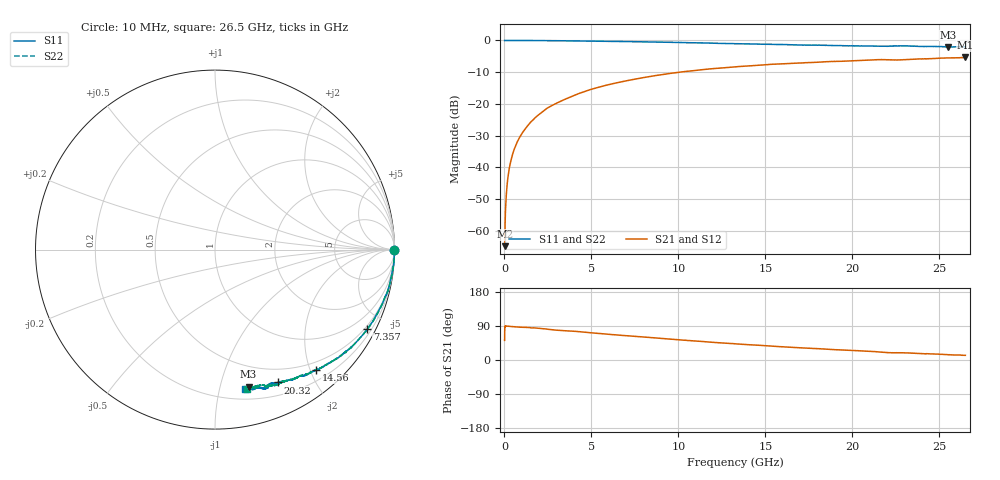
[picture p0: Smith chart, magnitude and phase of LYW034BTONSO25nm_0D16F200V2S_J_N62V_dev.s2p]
!Keysight Technologies,N5222B,MY61253708,A.15.00.15
!Date: Wednesday, June 19, 2024 09:14:32
!Correction: S11(C  2-Port  )
!S21(C  2-Port  )
!S12(C  2-Port  )
!S22(C  2-Port  )
!S2P File: Measurements: S11, S21, S12, S22:
# Hz S  RI  R 50
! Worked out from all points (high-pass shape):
!   2651 points, 10 MHz to 26.5 GHz, reference 50 ohm
!   highest |S21| = -5.35 dB at 26.5 GHz (marker M1); lowest = -64.9 dB at 20 MHz (marker M2)
!   |S21| within 3 dB of the highest: 13.23 GHz to end of sweep
!   lowest |S11| = -2.1 dB at 25.5 GHz (marker M3), VSWR 8.37, Z = 15.3 - j61.4 ohm
!   |S11| at or under -10 dB: nowhere
!   |S22| runs from -2.0 to 0.0 dB; largest |S21 - S12| = 0.0067
!   S11 on the Smith chart (normalised r, x): 10 MHz: open; 7.357 GHz: 0.38, -4.04; 14.56 GHz: 0.36, -2.09; 20.32 GHz: 0.34, -1.53; 26.5 GHz: 0.28, -1.20
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1e7  0.9984 -0.00226  0.000375 0.000478  0.000126 0.000405  0.9984 -0.000861
1.999623e7  0.999 -0.00209  2.09e-05 0.000567  -0.00012 0.000722  0.9991 -0.00228
1.699396e8  0.9998 -0.0121  6.42e-05 0.00581  6.75e-05 0.00586  0.9996 -0.0115
2.199208e8  0.9997 -0.0157  0.000137 0.0075  0.000128 0.00758  0.9992 -0.0149
2.798981e8  0.9998 -0.0198  0.000137 0.00963  0.00022 0.0096  0.9995 -0.019
3.898566e8  0.9993 -0.0276  0.000369 0.0133  0.000368 0.0134  0.9991 -0.0265
5.198075e8  0.999 -0.0358  0.00061 0.0177  0.000634 0.0179  0.9993 -0.0354
6.897434e8  0.9983 -0.0474  0.00111 0.0235  0.00112 0.0237  0.9982 -0.0471
8.896679e8  0.9975 -0.0612  0.00179 0.0301  0.00177 0.0303  0.9969 -0.0602
1.489442e9  0.9896 -0.1027  0.00439 0.0507  0.00443 0.051  0.9925 -0.0997
2.359113e9  0.9804 -0.1575  0.0111 0.0811  0.0114 0.0817  0.9817 -0.1579
3.208792e9  0.9681 -0.2126  0.0226 0.1069  0.0229 0.1076  0.968 -0.2122
4.428332e9  0.9388 -0.2867  0.041 0.1452  0.0415 0.1462  0.9402 -0.2845
7.357226e9  0.8485 -0.443  0.1098 0.2145  0.1113 0.2153  0.8492 -0.4423
8.846664e9  0.7928 -0.5089  0.1519 0.2396  0.1536 0.2404  0.7935 -0.5079
1.3255e10  0.6129 -0.6456  0.2813 0.2603  0.2838 0.2601  0.6153 -0.6447
1.456451e10  0.5627 -0.6727  0.3147 0.2547  0.3174 0.2543  0.565 -0.669
1.767333e10  0.4387 -0.7204  0.3867 0.2288  0.3904 0.2271  0.4481 -0.7182
2.032233e10  0.3524 -0.7401  0.4377 0.1999  0.4401 0.1961  0.3648 -0.7404
2.209166e10  0.3046 -0.7491  0.4672 0.1645  0.4691 0.1615  0.2973 -0.7552
2.550038e10  0.1868 -0.7639  0.5144 0.1266  0.5161 0.1266  0.2061 -0.7671
2.65e10  0.1684 -0.7788  0.5277 0.1156  0.527 0.1118  0.18 -0.7771
